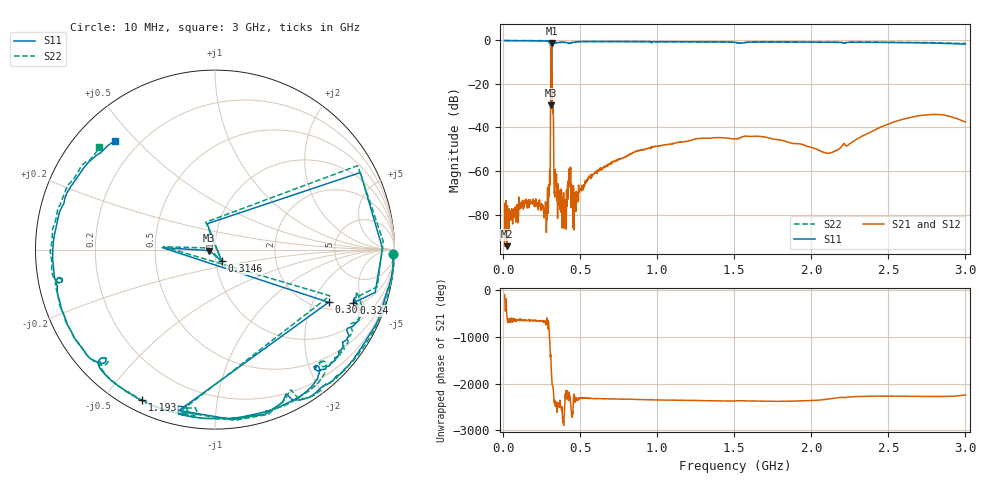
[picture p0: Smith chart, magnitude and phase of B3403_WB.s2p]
! Matrix data file written by TouchstoneData, EPCOS AG
! FILENAME: "B3403_WB.s2p"
! COMMENT: "PCB2023"
! INFO: nport=2, nfreq=1601
! DATE: "Thu Jan 16 2014"
! USER: "Hiroshi Tanaka"
! port | pin | signal
!  1  |  1  |  in
!  2  |  4  |  out
# MHZ S MA R 50
! freq  magS11 angS11  magS21 angS21  magS12 angS12  magS22 angS22
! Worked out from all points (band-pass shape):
!   1601 points, 10 MHz to 3 GHz, reference 50 ohm
!   highest |S21| = -1.15 dB at 314.6 MHz (marker M1); lowest = -94.6 dB at 24.95 MHz (marker M2)
!   |S21| within 3 dB of the highest: 310.7 MHz to 316.7 MHz (6.064 MHz wide, 1.93 % of centre)
!   lowest |S11| = -29.8 dB at 312.7 MHz (marker M3), VSWR 1.07, Z = 46.9 - j0.532 ohm
!   |S11| at or under -10 dB: 310.7 MHz to 317.2 MHz (6.532 MHz wide, 2.08 % of centre)
!   |S22| runs from -27.8 to 0.0 dB; largest |S21 - S12| = 0
!   S11 on the Smith chart (normalised r, x): 10 MHz: 21, -78; 309 MHz: 2.32, -2.66; 314.6 MHz: 1.07, -0.14; 323.9 MHz: 2.26, -4.23; 1.193 GHz: 0.05, -0.62; 3 GHz: 0.11, +0.43
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10  0.9937 -1.4  1.878e-05 -103.5  1.878e-05 -103.5  0.9945 -1.4
24.95  0.9922 -3.7  1.872e-05 142.9  1.872e-05 142.9  0.9982 -3.4
279.1  0.9798 -47.2  6.302e-05 11.8  6.302e-05 11.8  0.9817 -45.5
292.1812  0.9759 -54.9  0.0001348 -120.0  0.0001348 -120.0  0.9805 -53.4
309  0.6978 -24.9  0.1513 59.7  0.1513 59.7  0.6895 -21.9
312.7375  0.0322 -169.9  0.86 111.3  0.86 111.3  0.04073 166.8
314.6062  0.07346 -60.4  0.8764 4.7  0.8764 4.7  0.07455 -59.4
323.95  0.8265 -21.0  0.02924 92.2  0.02924 92.2  0.8293 -18.8
344.5063  0.8844 -35.2  0.0004805 70.8  0.0004805 70.8  0.8896 -33.2
363.1938  0.8968 -39.8  0.000286 23.6  0.000286 23.6  0.9032 -37.4
394.9625  0.9026 -46.2  4.829e-05 142.8  4.829e-05 142.8  0.9061 -43.7
432.3375  0.8659 -49.7  0.0004298 -139.6  0.0004298 -139.6  0.8671 -47.1
462.2375  0.9195 -51.7  0.0001926 153.7  0.0001926 153.7  0.9221 -48.6
508.9563  0.9427 -58.3  0.0003513 -142.3  0.0003513 -142.3  0.9441 -55.0
710.7812  0.9438 -80.2  0.001597 -169.5  0.001597 -169.5  0.9477 -76.7
1007.913  0.9355 -103.6  0.00377 169.2  0.00377 169.2  0.9348 -101.1
1192.919  0.9316 -115.9  0.004792 162.3  0.004792 162.3  0.9346 -113.6
1505  0.9068 -135.8  0.005455 150.1  0.005455 150.1  0.9027 -135.2
2003.956  0.9162 -159.3  0.003439 158.1  0.003439 158.1  0.9176 -159.3
2131.031  0.907 -165.6  0.002652 -159.4  0.002652 -159.4  0.9117 -165.4
2502.912  0.8987 175.0  0.01202 -108.8  0.01202 -108.8  0.9107 174.5
3000  0.8236 132.8  0.01344 -81.1  0.01344 -81.1  0.8593 138.5
